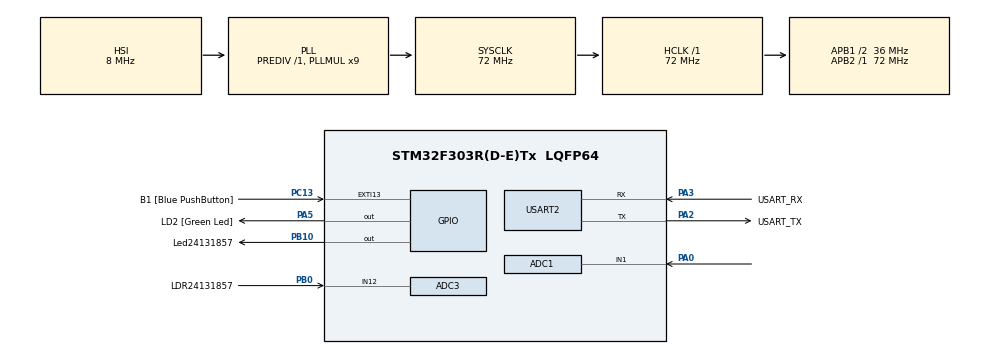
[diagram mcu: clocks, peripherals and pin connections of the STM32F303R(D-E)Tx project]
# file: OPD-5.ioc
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ADC1.Channel-0\#ChannelRegularConversion=ADC_CHANNEL_1
ADC1.Channel-1\#ChannelRegularConversion=ADC_CHANNEL_TEMPSENSOR
ADC1.Channel-2\#ChannelRegularConversion=ADC_CHANNEL_VREFINT
ADC1.NbrOfConversion=3
ADC1.NbrOfConversionFlag=1
ADC1.Offset-0\#ChannelRegularConversion=0
ADC1.Offset-1\#ChannelRegularConversion=0
ADC1.Offset-2\#ChannelRegularConversion=0
ADC1.OffsetNumber-0\#ChannelRegularConversion=ADC_OFFSET_NONE
ADC1.OffsetNumber-1\#ChannelRegularConversion=ADC_OFFSET_NONE
ADC1.OffsetNumber-2\#ChannelRegularConversion=ADC_OFFSET_NONE
ADC1.Rank-0\#ChannelRegularConversion=1
ADC1.Rank-1\#ChannelRegularConversion=2
ADC1.Rank-2\#ChannelRegularConversion=3
ADC1.SamplingTime-0\#ChannelRegularConversion=ADC_SAMPLETIME_1CYCLE_5
ADC1.SamplingTime-1\#ChannelRegularConversion=ADC_SAMPLETIME_601CYCLES_5
ADC1.SamplingTime-2\#ChannelRegularConversion=ADC_SAMPLETIME_601CYCLES_5
ADC1.SamplingTimeOPAMP-1\#ChannelRegularConversion=ADC_SAMPLETIME_61CYCLES_5
ADC1.SamplingTimeOPAMP-2\#ChannelRegularConversion=ADC_SAMPLETIME_61CYCLES_5
ADC1.master=1
ADC3.Channel-0\#ChannelRegularConversion=ADC_CHANNEL_12
ADC3.NbrOfConversionFlag=1
ADC3.Offset-0\#ChannelRegularConversion=0
ADC3.OffsetNumber-0\#ChannelRegularConversion=ADC_OFFSET_NONE
ADC3.Rank-0\#ChannelRegularConversion=1
ADC3.SamplingTime-0\#ChannelRegularConversion=ADC_SAMPLETIME_1CYCLE_5
ADC3.SamplingTimeOPAMP-0\#ChannelRegularConversion=ADC_SAMPLETIME_61CYCLES_5
ADC3.master=1
Mcu.Family=STM32F3
Mcu.Name=STM32F303R(D-E)Tx
Mcu.Package=LQFP64
NVIC.PriorityGroup=NVIC_PRIORITYGROUP_0
PA0.Mode=IN1-Single-Ended
PA0.Signal=ADC1_IN1
PA13.GPIO_Label=TMS
PA13.Mode=Serial_Wire
PA13.Signal=SYS_JTMS-SWDIO
PA14.GPIO_Label=TCK
PA14.Mode=Serial_Wire
PA14.Signal=SYS_JTCK-SWCLK
PA2.GPIO_Label=USART_TX
PA2.GPIO_Mode=GPIO_MODE_AF_PP
PA2.GPIO_PuPd=GPIO_NOPULL
PA2.GPIO_Speed=GPIO_SPEED_FREQ_LOW
PA2.Mode=Asynchronous
PA2.Signal=USART2_TX
PA3.GPIO_Label=USART_RX
PA3.GPIO_Mode=GPIO_MODE_AF_PP
PA3.GPIO_PuPd=GPIO_NOPULL
PA3.GPIO_Speed=GPIO_SPEED_FREQ_LOW
PA3.Mode=Asynchronous
PA3.Signal=USART2_RX
PA5.GPIO_Label=LD2 [Green Led]
PA5.GPIO_Mode=GPIO_MODE_OUTPUT_PP
PA5.GPIO_PuPd=GPIO_NOPULL
PA5.GPIO_Speed=GPIO_SPEED_FREQ_LOW
PA5.Signal=GPIO_Output
PB0.GPIO_Label=LDR24131857
PB0.Mode=IN12-Single-Ended
PB0.Signal=ADC3_IN12
PB10.GPIO_Label=Led24131857
PB10.Signal=GPIO_Output
PB3.GPIO_Label=SWO
PB3.Signal=SYS_JTDO-TRACESWO
PC13.GPIO_Label=B1 [Blue PushButton]
PC13.GPIO_ModeDefaultEXTI=GPIO_MODE_IT_FALLING
PC13.Signal=GPXTI13
PC14-OSC32_IN.Mode=LSE-External-Oscillator
PC14-OSC32_IN.Signal=RCC_OSC32_IN
PC15-OSC32_OUT.Mode=LSE-External-Oscillator
PC15-OSC32_OUT.Signal=RCC_OSC32_OUT
PF0-OSC_IN.Mode=HSE-External-Clock-Source
PF0-OSC_IN.Signal=RCC_OSC_IN
PF1-OSC_OUT.Signal=RCC_OSC_OUT
ProjectManager.HeapSize=0x200
ProjectManager.StackSize=0x400
ProjectManager.TargetToolchain=STM32CubeIDE
RCC.AHBFreq_Value=72000000
RCC.APB1CLKDivider=RCC_HCLK_DIV2
RCC.APB1Freq_Value=36000000
RCC.APB1TimFreq_Value=72000000
RCC.APB2Freq_Value=72000000
RCC.APB2TimFreq_Value=72000000
RCC.CortexFreq_Value=72000000
RCC.HCLKFreq_Value=72000000
RCC.HSE_VALUE=8000000
RCC.HSI_VALUE=8000000
RCC.PLLM=8
RCC.PLLMUL=RCC_PLL_MUL9
RCC.PLLN=336
RCC.PLLP=RCC_PLLP_DIV4
RCC.PLLQ=7
RCC.RCC_PLLsource_Clock_Source_FROM_HSE=RCC_HSE_PREDIV_DIV2
RCC.SYSCLKFreq_VALUE=72000000
RCC.SYSCLKSourceVirtual=RCC_SYSCLKSOURCE_PLLCLK
RCC.USBFreq_Value=72000000
USART2.VirtualMode-Asynchronous=VM_ASYNC
VP_ADC1_TempSens_Input.Mode=IN-TempSens
VP_ADC1_Vref_Input.Mode=IN-Vrefint
board=NUCLEO-F303RE

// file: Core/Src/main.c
/* USER CODE BEGIN Header */
/**
  ******************************************************************************
  * @file           : main.c
  * @brief          : Main program body
  ******************************************************************************
  * @attention
  *
  * Copyright (c) 2026 STMicroelectronics.
  * All rights reserved.
  *
  * This software is licensed under terms that can be found in the LICENSE file
  * in the root directory of this software component.
  * If no LICENSE file comes with this software, it is provided AS-IS.
  *
  ******************************************************************************
  */
/* USER CODE END Header */
#include "main.h"

/* USER CODE BEGIN Includes */
#include <stdio.h>
/* USER CODE END Includes */

ADC_HandleTypeDef hadc1;
ADC_HandleTypeDef hadc3;

UART_HandleTypeDef huart2;

void SystemClock_Config(void);
static void MX_GPIO_Init(void);
static void MX_USART2_UART_Init(void);
static void MX_ADC1_Init(void);
static void MX_ADC3_Init(void);

int main(void)
{

  /* MCU Configuration--------------------------------------------------------*/

  /* Reset of all peripherals, Initializes the Flash interface and the Systick. */
  HAL_Init();

  /* Configure the system clock */
  SystemClock_Config();

  /* Initialize all configured peripherals */
  MX_GPIO_Init();
  MX_USART2_UART_Init();
  MX_ADC1_Init();
  MX_ADC3_Init();
  /* USER CODE BEGIN 2 */
  char buf[60];

  int len;
  int len2;
  int len3;
  int len4;

  //HAL_ADC_Start(&hadc1);
  //HAL_ADC_Start(&hadc3);

  /* USER CODE END 2 */

  /* Infinite loop */
  while (1)
  {

    /* USER CODE BEGIN 3 */
	  HAL_ADC_Start(&hadc1);

	  HAL_ADC_PollForConversion(&hadc1, HAL_MAX_DELAY);
	  uint32_t adcResult = HAL_ADC_GetValue(&hadc1);

	  HAL_ADC_PollForConversion(&hadc1, HAL_MAX_DELAY);
	  uint32_t adcTemp = HAL_ADC_GetValue(&hadc1);

	  HAL_ADC_PollForConversion(&hadc1, HAL_MAX_DELAY);
	  uint32_t adcVref = HAL_ADC_GetValue(&hadc1);

	  len = sprintf(buf, "ADC waarde: %lu ", adcResult);
	  HAL_UART_Transmit(&huart2, (uint8_t*)buf, len, HAL_MAX_DELAY);

//	  if (adcResult > 2048){
//		  HAL_GPIO_WritePin(GPIOB, Led24131857_Pin, GPIO_PIN_SET);
//	  }
//	  else{
//		  HAL_GPIO_WritePin(GPIOB, Led24131857_Pin, GPIO_PIN_RESET);
//	  }

	  len2 = sprintf(buf, "Temp waarde: %lu ", adcTemp);
	  HAL_UART_Transmit(&huart2, (uint8_t*)buf, len2, HAL_MAX_DELAY);

	  len3 = sprintf(buf, "Vref waarde: %lu ", adcVref);
	  HAL_UART_Transmit(&huart2, (uint8_t*)buf, len3, HAL_MAX_DELAY);

	  HAL_ADC_Stop(&hadc1);
	  HAL_ADC_Start(&hadc3);

	  HAL_ADC_PollForConversion(&hadc3, HAL_MAX_DELAY);
	  HAL_ADC_Stop(&hadc3);
	  uint32_t adcLDR = HAL_ADC_GetValue(&hadc3);

	  len4 = sprintf(buf, "LDR waarde: %lu\r\n ", adcLDR);
	  HAL_UART_Transmit(&huart2, (uint8_t*)buf, len4, HAL_MAX_DELAY);

	  if (adcLDR > adcResult){
        HAL_GPIO_WritePin(GPIOB, Led24131857_Pin, GPIO_PIN_SET);
	  }
	  else{
        HAL_GPIO_WritePin(GPIOB, Led24131857_Pin, GPIO_PIN_RESET);
	  }
	  HAL_Delay(2000);

  }
  /* USER CODE END 3 */
}

void SystemClock_Config(void)
{
  RCC_OscInitTypeDef RCC_OscInitStruct = {0};
  RCC_ClkInitTypeDef RCC_ClkInitStruct = {0};
  RCC_PeriphCLKInitTypeDef PeriphClkInit = {0};

  /** Initializes the RCC Oscillators according to the specified parameters
  * in the RCC_OscInitTypeDef structure.
  */
  RCC_OscInitStruct.OscillatorType = RCC_OSCILLATORTYPE_HSI;
  RCC_OscInitStruct.HSIState = RCC_HSI_ON;
  RCC_OscInitStruct.HSICalibrationValue = RCC_HSICALIBRATION_DEFAULT;
  RCC_OscInitStruct.PLL.PLLState = RCC_PLL_ON;
  RCC_OscInitStruct.PLL.PLLSource = RCC_PLLSOURCE_HSI;
  RCC_OscInitStruct.PLL.PLLMUL = RCC_PLL_MUL9;
  RCC_OscInitStruct.PLL.PREDIV = RCC_PREDIV_DIV1;
  if (HAL_RCC_OscConfig(&RCC_OscInitStruct) != HAL_OK)
  {
    Error_Handler();
  }

  /** Initializes the CPU, AHB and APB buses clocks
  */
  RCC_ClkInitStruct.ClockType = RCC_CLOCKTYPE_HCLK|RCC_CLOCKTYPE_SYSCLK
                              |RCC_CLOCKTYPE_PCLK1|RCC_CLOCKTYPE_PCLK2;
  RCC_ClkInitStruct.SYSCLKSource = RCC_SYSCLKSOURCE_PLLCLK;
  RCC_ClkInitStruct.AHBCLKDivider = RCC_SYSCLK_DIV1;
  RCC_ClkInitStruct.APB1CLKDivider = RCC_HCLK_DIV2;
  RCC_ClkInitStruct.APB2CLKDivider = RCC_HCLK_DIV1;

  if (HAL_RCC_ClockConfig(&RCC_ClkInitStruct, FLASH_LATENCY_2) != HAL_OK)
  {
    Error_Handler();
  }
  PeriphClkInit.PeriphClockSelection = RCC_PERIPHCLK_USART2|RCC_PERIPHCLK_ADC12
                              |RCC_PERIPHCLK_ADC34;
  PeriphClkInit.Usart2ClockSelection = RCC_USART2CLKSOURCE_PCLK1;
  PeriphClkInit.Adc12ClockSelection = RCC_ADC12PLLCLK_DIV1;
  PeriphClkInit.Adc34ClockSelection = RCC_ADC34PLLCLK_DIV1;
  if (HAL_RCCEx_PeriphCLKConfig(&PeriphClkInit) != HAL_OK)
  {
    Error_Handler();
  }
}

static void MX_ADC1_Init(void)
{

  ADC_MultiModeTypeDef multimode = {0};
  ADC_ChannelConfTypeDef sConfig = {0};

  /** Common config
  */
  hadc1.Instance = ADC1;
  hadc1.Init.ClockPrescaler = ADC_CLOCK_ASYNC_DIV1;
  hadc1.Init.Resolution = ADC_RESOLUTION_12B;
  hadc1.Init.ScanConvMode = ADC_SCAN_ENABLE;
  hadc1.Init.ContinuousConvMode = DISABLE;
  hadc1.Init.DiscontinuousConvMode = DISABLE;
  hadc1.Init.ExternalTrigConvEdge = ADC_EXTERNALTRIGCONVEDGE_NONE;
  hadc1.Init.ExternalTrigConv = ADC_SOFTWARE_START;
  hadc1.Init.DataAlign = ADC_DATAALIGN_RIGHT;
  hadc1.Init.NbrOfConversion = 3;
  hadc1.Init.DMAContinuousRequests = DISABLE;
  hadc1.Init.EOCSelection = ADC_EOC_SINGLE_CONV;
  hadc1.Init.LowPowerAutoWait = DISABLE;
  hadc1.Init.Overrun = ADC_OVR_DATA_OVERWRITTEN;
  if (HAL_ADC_Init(&hadc1) != HAL_OK)
  {
    Error_Handler();
  }

  /** Configure the ADC multi-mode
  */
  multimode.Mode = ADC_MODE_INDEPENDENT;
  if (HAL_ADCEx_MultiModeConfigChannel(&hadc1, &multimode) != HAL_OK)
  {
    Error_Handler();
  }

  /** Configure Regular Channel
  */
  sConfig.Channel = ADC_CHANNEL_1;
  sConfig.Rank = ADC_REGULAR_RANK_1;
  sConfig.SingleDiff = ADC_SINGLE_ENDED;
  sConfig.SamplingTime = ADC_SAMPLETIME_1CYCLE_5;
  sConfig.OffsetNumber = ADC_OFFSET_NONE;
  sConfig.Offset = 0;
  if (HAL_ADC_ConfigChannel(&hadc1, &sConfig) != HAL_OK)
  {
    Error_Handler();
  }

  /** Configure Regular Channel
  */
  sConfig.Channel = ADC_CHANNEL_TEMPSENSOR;
  sConfig.Rank = ADC_REGULAR_RANK_2;
  sConfig.SamplingTime = ADC_SAMPLETIME_601CYCLES_5;
  if (HAL_ADC_ConfigChannel(&hadc1, &sConfig) != HAL_OK)
  {
    Error_Handler();
  }

  /** Configure Regular Channel
  */
  sConfig.Channel = ADC_CHANNEL_VREFINT;
  sConfig.Rank = ADC_REGULAR_RANK_3;
  if (HAL_ADC_ConfigChannel(&hadc1, &sConfig) != HAL_OK)
  {
    Error_Handler();
  }

}

static void MX_ADC3_Init(void)
{

  ADC_MultiModeTypeDef multimode = {0};
  ADC_ChannelConfTypeDef sConfig = {0};

  /** Common config
  */
  hadc3.Instance = ADC3;
  hadc3.Init.ClockPrescaler = ADC_CLOCK_ASYNC_DIV1;
  hadc3.Init.Resolution = ADC_RESOLUTION_12B;
  hadc3.Init.ScanConvMode = ADC_SCAN_DISABLE;
  hadc3.Init.ContinuousConvMode = DISABLE;
  hadc3.Init.DiscontinuousConvMode = DISABLE;
  hadc3.Init.ExternalTrigConvEdge = ADC_EXTERNALTRIGCONVEDGE_NONE;
  hadc3.Init.ExternalTrigConv = ADC_SOFTWARE_START;
  hadc3.Init.DataAlign = ADC_DATAALIGN_RIGHT;
  hadc3.Init.NbrOfConversion = 1;
  hadc3.Init.DMAContinuousRequests = DISABLE;
  hadc3.Init.EOCSelection = ADC_EOC_SINGLE_CONV;
  hadc3.Init.LowPowerAutoWait = DISABLE;
  hadc3.Init.Overrun = ADC_OVR_DATA_OVERWRITTEN;
  if (HAL_ADC_Init(&hadc3) != HAL_OK)
  {
    Error_Handler();
  }

  /** Configure the ADC multi-mode
  */
  multimode.Mode = ADC_MODE_INDEPENDENT;
  if (HAL_ADCEx_MultiModeConfigChannel(&hadc3, &multimode) != HAL_OK)
  {
    Error_Handler();
  }

  /** Configure Regular Channel
  */
  sConfig.Channel = ADC_CHANNEL_12;
  sConfig.Rank = ADC_REGULAR_RANK_1;
  sConfig.SingleDiff = ADC_SINGLE_ENDED;
  sConfig.SamplingTime = ADC_SAMPLETIME_1CYCLE_5;
  sConfig.OffsetNumber = ADC_OFFSET_NONE;
  sConfig.Offset = 0;
  if (HAL_ADC_ConfigChannel(&hadc3, &sConfig) != HAL_OK)
  {
    Error_Handler();
  }

}

static void MX_USART2_UART_Init(void)
{

  huart2.Instance = USART2;
  huart2.Init.BaudRate = 38400;
  huart2.Init.WordLength = UART_WORDLENGTH_8B;
  huart2.Init.StopBits = UART_STOPBITS_1;
  huart2.Init.Parity = UART_PARITY_NONE;
  huart2.Init.Mode = UART_MODE_TX_RX;
  huart2.Init.HwFlowCtl = UART_HWCONTROL_NONE;
  huart2.Init.OverSampling = UART_OVERSAMPLING_16;
  huart2.Init.OneBitSampling = UART_ONE_BIT_SAMPLE_DISABLE;
  huart2.AdvancedInit.AdvFeatureInit = UART_ADVFEATURE_NO_INIT;
  if (HAL_UART_Init(&huart2) != HAL_OK)
  {
    Error_Handler();
  }

}

static void MX_GPIO_Init(void)
{
  GPIO_InitTypeDef GPIO_InitStruct = {0};

  /* GPIO Ports Clock Enable */
  __HAL_RCC_GPIOC_CLK_ENABLE();
  __HAL_RCC_GPIOF_CLK_ENABLE();
  __HAL_RCC_GPIOA_CLK_ENABLE();
  __HAL_RCC_GPIOB_CLK_ENABLE();

  /*Configure GPIO pin Output Level */
  HAL_GPIO_WritePin(LD2_GPIO_Port, LD2_Pin, GPIO_PIN_RESET);

  /*Configure GPIO pin Output Level */
  HAL_GPIO_WritePin(Led24131857_GPIO_Port, Led24131857_Pin, GPIO_PIN_RESET);

  /*Configure GPIO pin : B1_Pin */
  GPIO_InitStruct.Pin = B1_Pin;
  GPIO_InitStruct.Mode = GPIO_MODE_IT_FALLING;
  GPIO_InitStruct.Pull = GPIO_NOPULL;
  HAL_GPIO_Init(B1_GPIO_Port, &GPIO_InitStruct);

  /*Configure GPIO pin : LD2_Pin */
  GPIO_InitStruct.Pin = LD2_Pin;
  GPIO_InitStruct.Mode = GPIO_MODE_OUTPUT_PP;
  GPIO_InitStruct.Pull = GPIO_NOPULL;
  GPIO_InitStruct.Speed = GPIO_SPEED_FREQ_LOW;
  HAL_GPIO_Init(LD2_GPIO_Port, &GPIO_InitStruct);

  /*Configure GPIO pin : Led24131857_Pin */
  GPIO_InitStruct.Pin = Led24131857_Pin;
  GPIO_InitStruct.Mode = GPIO_MODE_OUTPUT_PP;
  GPIO_InitStruct.Pull = GPIO_NOPULL;
  GPIO_InitStruct.Speed = GPIO_SPEED_FREQ_LOW;
  HAL_GPIO_Init(Led24131857_GPIO_Port, &GPIO_InitStruct);

}

void Error_Handler(void)
{
  __disable_irq();
  while (1)
  {
  }
}
